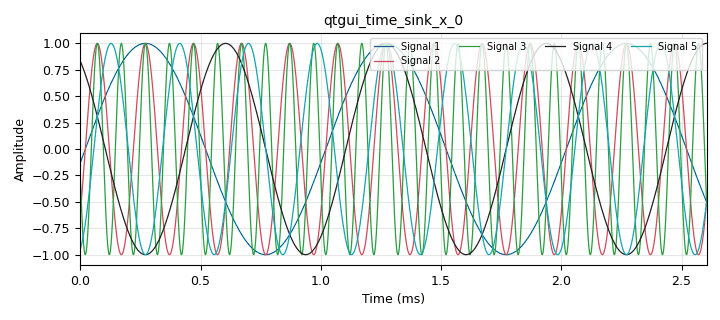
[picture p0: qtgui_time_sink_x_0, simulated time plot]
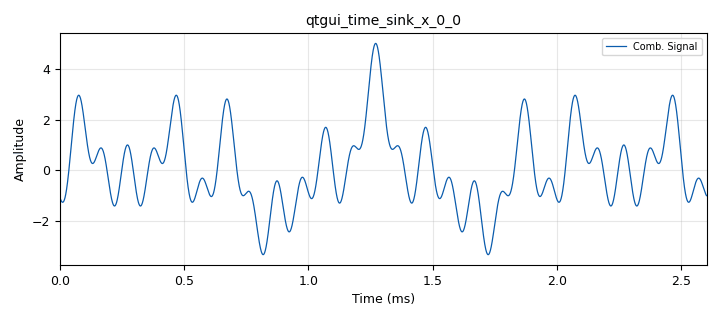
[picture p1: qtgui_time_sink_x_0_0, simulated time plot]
options:
  parameters:
    author: vishalgajjar
    generate_options: qt_gui
    id: Sine_wave
    output_language: python
    title: Not titled yet
  states: {}

blocks:
- name: decimation
  id: variable
  parameters:
    value: int(integration_time*samp_rate/nfft)
  states: {}
- name: integration_time
  id: variable
  parameters:
    value: '1'
  states: {}
- name: nfft
  id: variable
  parameters:
    value: '4096'
  states: {}
- name: samp_rate
  id: variable
  parameters:
    value: 3.84e6
  states: {}
- name: analog_sig_source_x_0
  id: analog_sig_source_x
  parameters:
    amp: '1'
    freq: '1000'
    offset: '0'
    phase: '0'
    samp_rate: samp_rate
    type: float
    waveform: analog.GR_COS_WAVE
  states: {}
- name: analog_sig_source_x_0_0
  id: analog_sig_source_x
  parameters:
    amp: '1'
    freq: '5000'
    offset: '0'
    phase: '0'
    samp_rate: samp_rate
    type: float
    waveform: analog.GR_COS_WAVE
  states: {}
- name: analog_sig_source_x_0_0_0
  id: analog_sig_source_x
  parameters:
    amp: '1'
    freq: '10000'
    offset: '0'
    phase: '0'
    samp_rate: samp_rate
    type: float
    waveform: analog.GR_COS_WAVE
  states: {}
- name: analog_sig_source_x_0_0_0_0
  id: analog_sig_source_x
  parameters:
    amp: '1'
    freq: '3500'
    offset: '0'
    phase: '0'
    samp_rate: samp_rate
    type: float
    waveform: analog.GR_COS_WAVE
  states: {}
- name: analog_sig_source_x_0_0_0_0_0
  id: analog_sig_source_x
  parameters:
    amp: '1'
    freq: '1500'
    offset: '0'
    phase: '0'
    samp_rate: samp_rate
    type: float
    waveform: analog.GR_COS_WAVE
  states: {}
- name: blocks_add_xx_0
  id: blocks_add_xx
  parameters:
    num_inputs: '5'
    type: float
  states: {}
- name: qtgui_time_sink_x_0
  id: qtgui_time_sink_x
  parameters:
    autoscale: 'True'
    nconnections: '5'
    size: '10000'
    srate: samp_rate
    type: float
  states: {}
- name: qtgui_time_sink_x_0_0
  id: qtgui_time_sink_x
  parameters:
    autoscale: 'True'
    label1: Comb. Signal
    size: '10000'
    srate: samp_rate
    type: float
  states: {}

connections:
- [analog_sig_source_x_0, '0', blocks_add_xx_0, '0']
- [analog_sig_source_x_0, '0', qtgui_time_sink_x_0, '0']
- [analog_sig_source_x_0_0, '0', blocks_add_xx_0, '1']
- [analog_sig_source_x_0_0, '0', qtgui_time_sink_x_0, '1']
- [analog_sig_source_x_0_0_0, '0', blocks_add_xx_0, '2']
- [analog_sig_source_x_0_0_0, '0', qtgui_time_sink_x_0, '2']
- [analog_sig_source_x_0_0_0_0, '0', blocks_add_xx_0, '4']
- [analog_sig_source_x_0_0_0_0, '0', qtgui_time_sink_x_0, '4']
- [analog_sig_source_x_0_0_0_0_0, '0', blocks_add_xx_0, '3']
- [analog_sig_source_x_0_0_0_0_0, '0', qtgui_time_sink_x_0, '3']
- [blocks_add_xx_0, '0', qtgui_time_sink_x_0_0, '0']

metadata:
  file_format: 1
  grc_version: 3.10.7.0
